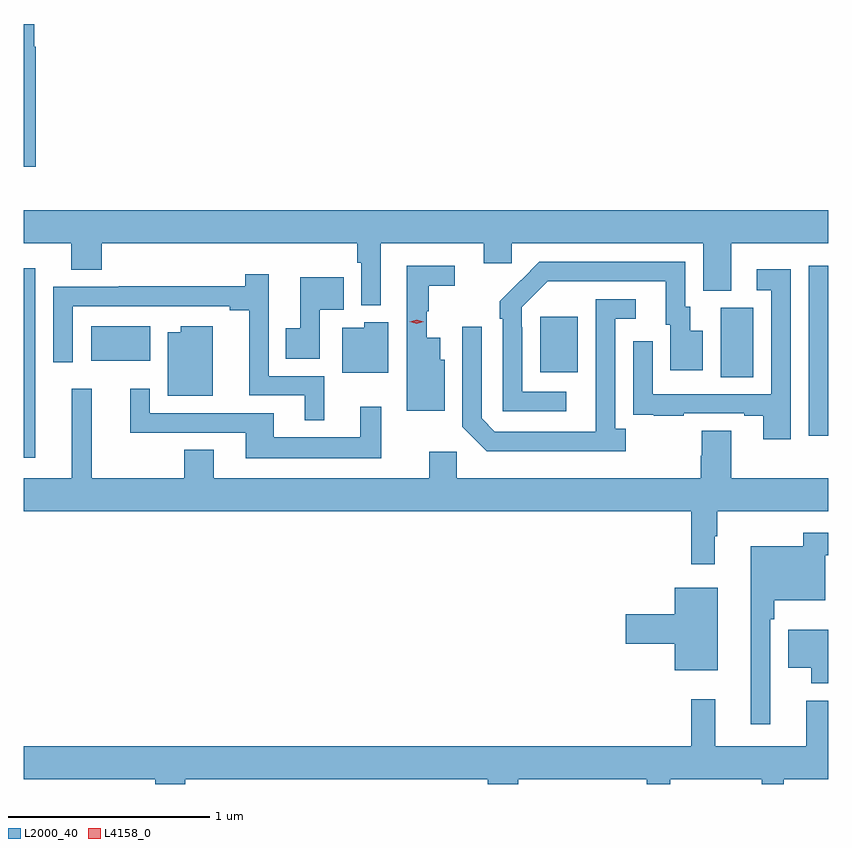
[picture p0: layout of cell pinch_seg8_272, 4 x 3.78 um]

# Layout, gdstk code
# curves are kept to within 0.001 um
import gdstk
lib = gdstk.Library(unit=1e-6, precision=1e-09)
def R(c, l, rs):  # rectangles x0, y0, x1, y1
    for r in rs: c.add(gdstk.rectangle(r[:2], r[2:], *l))
def P(c, l, *ps):  # polygons
    for p in ps: c.add(gdstk.Polygon(p, *l))
L2000_40 = (2000, 40)
L4158_0 = (4158, 0)

pinch_seg8_272 = lib.new_cell('pinch_seg8_272')
R(pinch_seg8_272, L2000_40, [(525.09,1156.728,525.148,1157.668), (528.993,1156.835,529.09,1157.682), (528.554,1157.128,528.718,1157.472), (527.657,1157.153,527.845,1157.428), (525.425,1157.21,525.718,1157.38)])
P(pinch_seg8_272, L2000_40, [(525.149,1158.77),(525.142,1158.77),(525.142,1158.883),(525.09,1158.883),(525.09,1158.173),(525.149,1158.173)],
  [(526.864,1157.792),(527.378,1157.792),(527.378,1157.694),(527.517,1157.694),(527.517,1157.792),(528.467,1157.792),(528.467,1157.557),(528.607,1157.557),(528.607,1157.792),(529.09,1157.792),(529.09,1157.956),(525.09,1157.956),(525.09,1157.792),(525.326,1157.792),(525.326,1157.662),(525.479,1157.662),(525.479,1157.792),(526.747,1157.792),(526.747,1157.696),(526.767,1157.696),(526.767,1157.486),(526.864,1157.486)],
  [(527.788,1157.055),(527.568,1157.055),(527.568,1157.375),(527.565,1157.375),(527.565,1157.475),(527.694,1157.604),(528.281,1157.604),(528.281,1157.388),(528.305,1157.388),(528.305,1157.163),(528.466,1157.163),(528.466,1157.359),(528.403,1157.359),(528.403,1157.478),(528.378,1157.478),(528.378,1157.7),(527.654,1157.7),(527.457,1157.505),(527.457,1157.417),(527.472,1157.417),(527.472,1156.959),(527.788,1156.959)],
  [(527.182,1157.214),(527.161,1157.214),(527.161,1157.323),(527.093,1157.323),(527.093,1157.454),(527.104,1157.454),(527.104,1157.581),(527.233,1157.581),(527.233,1157.682),(526.995,1157.682),(526.995,1157.214),(526.994,1157.214),(526.994,1156.961),(527.182,1156.961)],
  [(528.903,1157.665),(528.735,1157.665),(528.735,1157.559),(528.807,1157.559),(528.807,1157.043),(528.216,1157.043),(528.216,1157.305),(528.12,1157.305),(528.12,1157.05),(528.121,1157.05),(528.121,1156.941),(528.223,1156.941),(528.223,1156.935),(528.371,1156.935),(528.371,1156.947),(528.671,1156.947),(528.671,1156.935),(528.767,1156.935),(528.767,1156.818),(528.903,1156.818)],
  [(526.585,1157.133),(526.308,1157.133),(526.308,1157.638),(526.192,1157.638),(526.192,1157.579),(525.562,1157.579),(525.562,1157.577),(525.237,1157.577),(525.237,1157.202),(525.333,1157.202),(525.333,1157.481),(526.115,1157.481),(526.115,1157.461),(526.211,1157.461),(526.211,1157.037),(526.487,1157.037),(526.487,1156.913),(526.585,1156.913)],
  [(526.563,1157.462),(526.682,1157.462),(526.682,1157.623),(526.466,1157.623),(526.466,1157.37),(526.393,1157.37),(526.393,1157.218),(526.563,1157.218)],
  [(528.082,1156.87),(528.03,1156.87),(528.03,1157.418),(528.133,1157.418),(528.133,1157.514),(527.934,1157.514),(527.933,1156.857),(527.433,1156.857),(527.367,1156.923),(527.367,1157.377),(527.271,1157.377),(527.271,1156.881),(527.392,1156.76),(528.082,1156.76)],
  [(526.903,1157.401),(526.782,1157.401),(526.782,1157.374),(526.673,1157.374),(526.673,1157.15),(526.903,1157.15)],
  [(526.03,1157.38),(525.872,1157.38),(525.872,1157.35),(525.806,1157.35),(525.806,1157.036),(526.03,1157.036)],
  [(528.526,1156.337),(528.538,1156.337),(528.538,1156.46),(529.09,1156.46),(529.09,1156.624),(528.607,1156.624),(528.607,1156.862),(528.46,1156.862),(528.46,1156.737),(528.455,1156.737),(528.455,1156.624),(527.244,1156.624),(527.244,1156.756),(527.105,1156.756),(527.105,1156.624),(526.036,1156.624),(526.036,1156.766),(525.889,1156.766),(525.889,1156.624),(525.428,1156.624),(525.428,1157.071),(525.329,1157.071),(525.329,1156.624),(525.09,1156.624),(525.09,1156.46),(528.409,1156.46),(528.409,1156.197),(528.526,1156.197)],
  [(526.867,1156.981),(526.763,1156.981),(526.763,1156.828),(526.333,1156.828),(526.333,1156.947),(525.717,1156.947),(525.717,1157.071),(525.62,1157.071),(525.62,1156.851),(526.193,1156.851),(526.193,1156.724),(526.867,1156.724)],
  [(528.801,1155.923),(528.821,1155.923),(528.821,1156.019),(529.074,1156.019),(529.074,1156.241),(529.09,1156.241),(529.09,1156.354),(528.966,1156.354),(528.966,1156.288),(528.704,1156.288),(528.704,1155.402),(528.801,1155.402)],
  [(528.541,1156.081),(528.326,1156.081),(528.326,1155.95),(528.084,1155.95),(528.084,1155.803),(528.326,1155.803),(528.326,1155.671),(528.541,1155.671)],
  [(529.09,1155.871),(528.89,1155.871),(528.89,1155.683),(529.004,1155.683),(529.004,1155.605),(529.09,1155.605)],
  [(528.527,1155.526),(528.409,1155.526),(528.409,1155.292),(525.09,1155.292),(525.09,1155.128),(525.743,1155.128),(525.743,1155.105),(525.894,1155.105),(525.894,1155.128),(527.396,1155.128),(527.396,1155.105),(527.549,1155.105),(527.549,1155.128),(528.187,1155.128),(528.187,1155.105),(528.305,1155.105),(528.305,1155.128),(528.758,1155.128),(528.758,1155.105),(528.868,1155.105),(528.868,1155.128),(529.09,1155.128),(529.09,1155.52),(528.98,1155.52),(528.98,1155.292),(528.527,1155.292)])
P(pinch_seg8_272, L4158_0, [(527.043,1157.393),(527.009,1157.402),(527.009,1157.402),(527.009,1157.403),(527.043,1157.413),(527.078,1157.404),(527.078,1157.403),(527.078,1157.403)])

lib.write_gds('pinch_seg8_272.gds')
